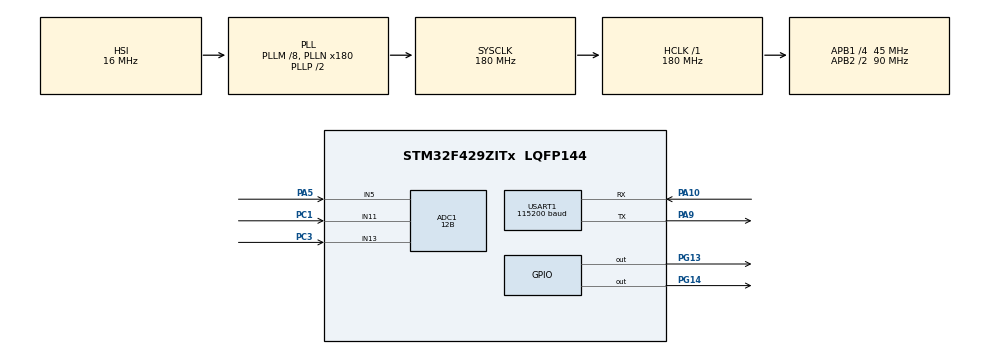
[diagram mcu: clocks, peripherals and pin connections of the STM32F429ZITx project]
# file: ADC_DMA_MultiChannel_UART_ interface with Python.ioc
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ADC1.Channel-0\#ChannelRegularConversion=ADC_CHANNEL_11
ADC1.Channel-3\#ChannelRegularConversion=ADC_CHANNEL_13
ADC1.Channel-4\#ChannelRegularConversion=ADC_CHANNEL_5
ADC1.ClockPrescaler=ADC_CLOCK_SYNC_PCLK_DIV4
ADC1.ContinuousConvMode=DISABLE
ADC1.DMAContinuousRequests=ENABLE
ADC1.EOCSelection=ADC_EOC_SEQ_CONV
ADC1.ExternalTrigConv=ADC_EXTERNALTRIGCONV_T8_TRGO
ADC1.NbrOfConversion=3
ADC1.NbrOfConversionFlag=1
ADC1.Rank-0\#ChannelRegularConversion=1
ADC1.Rank-3\#ChannelRegularConversion=2
ADC1.Rank-4\#ChannelRegularConversion=3
ADC1.Resolution=ADC_RESOLUTION_12B
ADC1.SamplingTime-0\#ChannelRegularConversion=ADC_SAMPLETIME_3CYCLES
ADC1.SamplingTime-3\#ChannelRegularConversion=ADC_SAMPLETIME_3CYCLES
ADC1.SamplingTime-4\#ChannelRegularConversion=ADC_SAMPLETIME_3CYCLES
ADC1.master=1
Dma.ADC1.0.Direction=DMA_PERIPH_TO_MEMORY
Dma.ADC1.0.FIFOMode=DMA_FIFOMODE_DISABLE
Dma.ADC1.0.Instance=DMA2_Stream0
Dma.ADC1.0.MemDataAlignment=DMA_MDATAALIGN_HALFWORD
Dma.ADC1.0.MemInc=DMA_MINC_ENABLE
Dma.ADC1.0.Mode=DMA_CIRCULAR
Dma.ADC1.0.PeriphDataAlignment=DMA_PDATAALIGN_HALFWORD
Dma.ADC1.0.PeriphInc=DMA_PINC_DISABLE
Dma.ADC1.0.Priority=DMA_PRIORITY_LOW
Dma.Request0=ADC1
Mcu.Family=STM32F4
Mcu.Name=STM32F429ZITx
Mcu.Package=LQFP144
NVIC.ADC_IRQn=true\:1\:0\:true\:false\:true\:true\:true\:true
NVIC.DMA2_Stream0_IRQn=true\:1\:0\:true\:false\:true\:false\:true\:true
NVIC.PriorityGroup=NVIC_PRIORITYGROUP_1
NVIC.USART1_IRQn=true\:1\:0\:true\:false\:true\:true\:true\:true
PA10.Mode=Asynchronous
PA10.Signal=USART1_RX
PA5.Signal=ADCx_IN5
PA9.Mode=Asynchronous
PA9.Signal=USART1_TX
PC1.Signal=ADCx_IN11
PC3.Signal=ADCx_IN13
PG13.Signal=GPIO_Output
PG14.Signal=GPIO_Output
ProjectManager.HeapSize=0x200
ProjectManager.StackSize=0x400
ProjectManager.TargetToolchain=STM32CubeIDE
RCC.48MHZClocksFreq_Value=51428571.428571425
RCC.AHBFreq_Value=180000000
RCC.APB1CLKDivider=RCC_HCLK_DIV4
RCC.APB1Freq_Value=45000000
RCC.APB1TimFreq_Value=90000000
RCC.APB2CLKDivider=RCC_HCLK_DIV2
RCC.APB2Freq_Value=90000000
RCC.APB2TimFreq_Value=180000000
RCC.CortexFreq_Value=180000000
RCC.HCLKFreq_Value=180000000
RCC.HSE_VALUE=8000000
RCC.HSI_VALUE=16000000
RCC.LSE_VALUE=32768
RCC.PLLM=8
RCC.PLLN=180
RCC.PLLQ=7
RCC.SYSCLKFreq_VALUE=180000000
RCC.SYSCLKSource=RCC_SYSCLKSOURCE_PLLCLK
RCC.VCOOutputFreq_Value=360000000
SH.ADCx_IN11.0=ADC1_IN11,IN11
SH.ADCx_IN13.0=ADC1_IN13,IN13
SH.ADCx_IN5.0=ADC1_IN5,IN5
TIM8.Period=100-1
TIM8.Prescaler=18000-1
TIM8.TIM_MasterOutputTrigger=TIM_TRGO_UPDATE
USART1.BaudRate=115200
USART1.OverSampling=UART_OVERSAMPLING_8
USART1.VirtualMode=VM_ASYNC
VP_TIM8_VS_ClockSourceINT.Mode=Internal
board=STM32F429I-DISC1

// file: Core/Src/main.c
/* USER CODE BEGIN Header */
/**
  ******************************************************************************
  * @file           : main.c
  * @brief          : Main program body
  ******************************************************************************
  * @attention
  *
  * Copyright (c) 2024 STMicroelectronics.
  * All rights reserved.
  *
  * This software is licensed under terms that can be found in the LICENSE file
  * in the root directory of this software component.
  * If no LICENSE file comes with this software, it is provided AS-IS.
  *
  ******************************************************************************
  */

	/***************************** Tutorial Tags ******************************
	 ADC triggered by timer
	 UART data communication to PC
	 Python for control STM32 and reading/ plotting data
	 **************************************************************************/

	/* *************************************************************************
	* Application: ADC_DMA_MultiChannel_UART_ interface with Python
	*

    Form a project with the following specification:

    Configure STM32F4 to read data from 3 potentiometers. ADC data is triggered using
    appropriate timer at a frquency of 10 Hz (10 samples/second). Data is transfered in real time to Python
    for plotting. Also configure Python to send character "g" via UART to
    for the ADC to start acquiring data, or "r" to stop the ADC. Use animated plot on Python to plot
    updated data frames of 50 digitised ADC samples.
    Green led will be toggled every time a sample is taken by the ADC
    Red led will be turned on when ADC is started by Python and turned off when ADC stops
	***************************************************************************/
/* USER CODE END Header */
#include "main.h"

/* USER CODE BEGIN Includes */
#include<math.h>
/* USER CODE END Includes */

/* USER CODE BEGIN PD */
/*Size of DMA buffer*/
#define length 30
/*Number of ADC Channels*/
#define NCh 3
/* USER CODE END PD */

ADC_HandleTypeDef hadc1;
DMA_HandleTypeDef hdma_adc1;

TIM_HandleTypeDef htim8;

UART_HandleTypeDef huart1;

/* USER CODE BEGIN PV */
/*DMA Data buffer for ADC conversions*/
uint16_t  pData[length];

float ADC_Ave [NCh], ADC_Ave_V [NCh], Vref = 2.92;

/*Counter for number of end of conversions by the ADC for size of DMA buffer*/
uint16_t counter;

/*Byte to be received from COM port by UART*/
uint8_t recData;

/* USER CODE END PV */

void SystemClock_Config(void);
static void MX_GPIO_Init(void);
static void MX_DMA_Init(void);
static void MX_USART1_UART_Init(void);
static void MX_ADC1_Init(void);
static void MX_TIM8_Init(void);

int main(void)
{

  /* MCU Configuration--------------------------------------------------------*/

  /* Reset of all peripherals, Initializes the Flash interface and the Systick. */
  HAL_Init();

  /* Configure the system clock */
  SystemClock_Config();

  /* Initialize all configured peripherals */
  MX_GPIO_Init();
  MX_DMA_Init();
  MX_USART1_UART_Init();
  MX_ADC1_Init();
  MX_TIM8_Init();
  /* USER CODE BEGIN 2 */

  // Clear timer update flag in case it is set at start
  if (__HAL_TIM_GET_FLAG(&htim8 , TIM_FLAG_UPDATE) != RESET)
  __HAL_TIM_CLEAR_FLAG(&htim8 , TIM_FLAG_UPDATE);

  /*Start UART in interrupt mode, to waiting for message from Python client */
  HAL_UART_Receive_IT(&huart1, &recData, 1);

//  HAL_TIM_Base_Start(&htim8);
//	  /*Start ADC with DMA*/
//	  /* Start ADC sampling using DMA */
//  HAL_ADC_Start_DMA(&hadc1, (uint32_t *) pData, length);

  /* USER CODE END 2 */

  /* Infinite loop */
  while (1)
  {

  }
}

void SystemClock_Config(void)
{
  RCC_OscInitTypeDef RCC_OscInitStruct = {0};
  RCC_ClkInitTypeDef RCC_ClkInitStruct = {0};

  /** Configure the main internal regulator output voltage
  */
  __HAL_RCC_PWR_CLK_ENABLE();
  __HAL_PWR_VOLTAGESCALING_CONFIG(PWR_REGULATOR_VOLTAGE_SCALE1);

  /** Initializes the RCC Oscillators according to the specified parameters
  * in the RCC_OscInitTypeDef structure.
  */
  RCC_OscInitStruct.OscillatorType = RCC_OSCILLATORTYPE_HSI;
  RCC_OscInitStruct.HSIState = RCC_HSI_ON;
  RCC_OscInitStruct.HSICalibrationValue = RCC_HSICALIBRATION_DEFAULT;
  RCC_OscInitStruct.PLL.PLLState = RCC_PLL_ON;
  RCC_OscInitStruct.PLL.PLLSource = RCC_PLLSOURCE_HSI;
  RCC_OscInitStruct.PLL.PLLM = 8;
  RCC_OscInitStruct.PLL.PLLN = 180;
  RCC_OscInitStruct.PLL.PLLP = RCC_PLLP_DIV2;
  RCC_OscInitStruct.PLL.PLLQ = 7;
  if (HAL_RCC_OscConfig(&RCC_OscInitStruct) != HAL_OK)
  {
    Error_Handler();
  }

  /** Activate the Over-Drive mode
  */
  if (HAL_PWREx_EnableOverDrive() != HAL_OK)
  {
    Error_Handler();
  }

  /** Initializes the CPU, AHB and APB buses clocks
  */
  RCC_ClkInitStruct.ClockType = RCC_CLOCKTYPE_HCLK|RCC_CLOCKTYPE_SYSCLK
                              |RCC_CLOCKTYPE_PCLK1|RCC_CLOCKTYPE_PCLK2;
  RCC_ClkInitStruct.SYSCLKSource = RCC_SYSCLKSOURCE_PLLCLK;
  RCC_ClkInitStruct.AHBCLKDivider = RCC_SYSCLK_DIV1;
  RCC_ClkInitStruct.APB1CLKDivider = RCC_HCLK_DIV4;
  RCC_ClkInitStruct.APB2CLKDivider = RCC_HCLK_DIV2;

  if (HAL_RCC_ClockConfig(&RCC_ClkInitStruct, FLASH_LATENCY_5) != HAL_OK)
  {
    Error_Handler();
  }
}

static void MX_ADC1_Init(void)
{

  ADC_ChannelConfTypeDef sConfig = {0};

  /** Configure the global features of the ADC (Clock, Resolution, Data Alignment and number of conversion)
  */
  hadc1.Instance = ADC1;
  hadc1.Init.ClockPrescaler = ADC_CLOCK_SYNC_PCLK_DIV4;
  hadc1.Init.Resolution = ADC_RESOLUTION_12B;
  hadc1.Init.ScanConvMode = ENABLE;
  hadc1.Init.ContinuousConvMode = DISABLE;
  hadc1.Init.DiscontinuousConvMode = DISABLE;
  hadc1.Init.ExternalTrigConvEdge = ADC_EXTERNALTRIGCONVEDGE_RISING;
  hadc1.Init.ExternalTrigConv = ADC_EXTERNALTRIGCONV_T8_TRGO;
  hadc1.Init.DataAlign = ADC_DATAALIGN_RIGHT;
  hadc1.Init.NbrOfConversion = 3;
  hadc1.Init.DMAContinuousRequests = ENABLE;
  hadc1.Init.EOCSelection = ADC_EOC_SEQ_CONV;
  if (HAL_ADC_Init(&hadc1) != HAL_OK)
  {
    Error_Handler();
  }

  /** Configure for the selected ADC regular channel its corresponding rank in the sequencer and its sample time.
  */
  sConfig.Channel = ADC_CHANNEL_11;
  sConfig.Rank = 1;
  sConfig.SamplingTime = ADC_SAMPLETIME_3CYCLES;
  if (HAL_ADC_ConfigChannel(&hadc1, &sConfig) != HAL_OK)
  {
    Error_Handler();
  }

  /** Configure for the selected ADC regular channel its corresponding rank in the sequencer and its sample time.
  */
  sConfig.Channel = ADC_CHANNEL_13;
  sConfig.Rank = 2;
  if (HAL_ADC_ConfigChannel(&hadc1, &sConfig) != HAL_OK)
  {
    Error_Handler();
  }

  /** Configure for the selected ADC regular channel its corresponding rank in the sequencer and its sample time.
  */
  sConfig.Channel = ADC_CHANNEL_5;
  sConfig.Rank = 3;
  if (HAL_ADC_ConfigChannel(&hadc1, &sConfig) != HAL_OK)
  {
    Error_Handler();
  }

}

static void MX_TIM8_Init(void)
{

  TIM_ClockConfigTypeDef sClockSourceConfig = {0};
  TIM_MasterConfigTypeDef sMasterConfig = {0};

  htim8.Instance = TIM8;
  htim8.Init.Prescaler = 18000-1;
  htim8.Init.CounterMode = TIM_COUNTERMODE_UP;
  htim8.Init.Period = 100-1;
  htim8.Init.ClockDivision = TIM_CLOCKDIVISION_DIV1;
  htim8.Init.RepetitionCounter = 0;
  htim8.Init.AutoReloadPreload = TIM_AUTORELOAD_PRELOAD_DISABLE;
  if (HAL_TIM_Base_Init(&htim8) != HAL_OK)
  {
    Error_Handler();
  }
  sClockSourceConfig.ClockSource = TIM_CLOCKSOURCE_INTERNAL;
  if (HAL_TIM_ConfigClockSource(&htim8, &sClockSourceConfig) != HAL_OK)
  {
    Error_Handler();
  }
  sMasterConfig.MasterOutputTrigger = TIM_TRGO_UPDATE;
  sMasterConfig.MasterSlaveMode = TIM_MASTERSLAVEMODE_DISABLE;
  if (HAL_TIMEx_MasterConfigSynchronization(&htim8, &sMasterConfig) != HAL_OK)
  {
    Error_Handler();
  }

}

static void MX_USART1_UART_Init(void)
{

  huart1.Instance = USART1;
  huart1.Init.BaudRate = 115200;
  huart1.Init.WordLength = UART_WORDLENGTH_8B;
  huart1.Init.StopBits = UART_STOPBITS_1;
  huart1.Init.Parity = UART_PARITY_NONE;
  huart1.Init.Mode = UART_MODE_TX_RX;
  huart1.Init.HwFlowCtl = UART_HWCONTROL_NONE;
  huart1.Init.OverSampling = UART_OVERSAMPLING_8;
  if (HAL_UART_Init(&huart1) != HAL_OK)
  {
    Error_Handler();
  }

}

static void MX_DMA_Init(void)
{

  /* DMA controller clock enable */
  __HAL_RCC_DMA2_CLK_ENABLE();

  /* DMA interrupt init */
  /* DMA2_Stream0_IRQn interrupt configuration */
  HAL_NVIC_SetPriority(DMA2_Stream0_IRQn, 1, 0);
  HAL_NVIC_EnableIRQ(DMA2_Stream0_IRQn);

}

static void MX_GPIO_Init(void)
{
  GPIO_InitTypeDef GPIO_InitStruct = {0};

  /* GPIO Ports Clock Enable */
  __HAL_RCC_GPIOC_CLK_ENABLE();
  __HAL_RCC_GPIOA_CLK_ENABLE();
  __HAL_RCC_GPIOG_CLK_ENABLE();

  /*Configure GPIO pin Output Level */
  HAL_GPIO_WritePin(GPIOG, GPIO_PIN_13|GPIO_PIN_14, GPIO_PIN_RESET);

  /*Configure GPIO pins : PG13 PG14 */
  GPIO_InitStruct.Pin = GPIO_PIN_13|GPIO_PIN_14;
  GPIO_InitStruct.Mode = GPIO_MODE_OUTPUT_PP;
  GPIO_InitStruct.Pull = GPIO_NOPULL;
  GPIO_InitStruct.Speed = GPIO_SPEED_FREQ_LOW;
  HAL_GPIO_Init(GPIOG, &GPIO_InitStruct);

}

/* USER CODE BEGIN 4 */
/*Callback function to receive message from Python client*/
void HAL_UART_RxCpltCallback(UART_HandleTypeDef *huart)
{
	if(recData == 'g'){
		  /*Message to start ADC received!, turn on the red led*/
		HAL_GPIO_WritePin(GPIOG, GPIO_PIN_14, GPIO_PIN_SET);
		  /*Start the timer*/
		HAL_TIM_Base_Start(&htim8);
		  /*Start ADC with DMA*/
		  /* Start ADC sampling using DMA */
	    HAL_ADC_Start_DMA(&hadc1, (uint32_t *) pData, length);
	}

	else if (recData == 'r'){
		/*Turn off red led*/
		HAL_GPIO_WritePin(GPIOG, GPIO_PIN_14, GPIO_PIN_RESET);
		/*Turn off red led*/
		HAL_GPIO_WritePin(GPIOG, GPIO_PIN_13, GPIO_PIN_RESET);
		/*Stop the timer*/
		HAL_TIM_Base_Stop(&htim8);
	}

	HAL_UART_Receive_IT(&huart1 , &recData , 1); // Need to put this to generate an interrupt for the next reception of byte
}
/*Callback function for data acquisition*/
void HAL_ADC_ConvCpltCallback(ADC_HandleTypeDef *hadc)
{
	/*Toggle green led for every ADC conversion*/
	HAL_GPIO_TogglePin(GPIOG, GPIO_PIN_13);

	uint32_t average = 0;

    for (int i = 0; i < NCh; i++){
	for (int j = 0; j < length/NCh; j++){
		average += pData[j*NCh+i];
	}
	/*Digital value 0-4095*/
	ADC_Ave[i] = (float) (average / (length/NCh));
    /*Convert to voltage*/
    ADC_Ave_V [i] = (float) (Vref/pow(2,12))* ADC_Ave [i];
	average = 0;
    }

	/*Transmit data to client over UART*/
	HAL_UART_Transmit(&huart1, (uint8_t*)&counter, 2, 5000);

	HAL_UART_Transmit(&huart1, (uint8_t*)ADC_Ave_V, 12, 5000);

	counter++;
    /*In case counter get overflow */
	if (counter == pow(2,32)-1)
		counter = 0;
	__NOP();

}

/* USER CODE END 4 */

void Error_Handler(void)
{
  __disable_irq();
  while (1)
  {
  }
}
